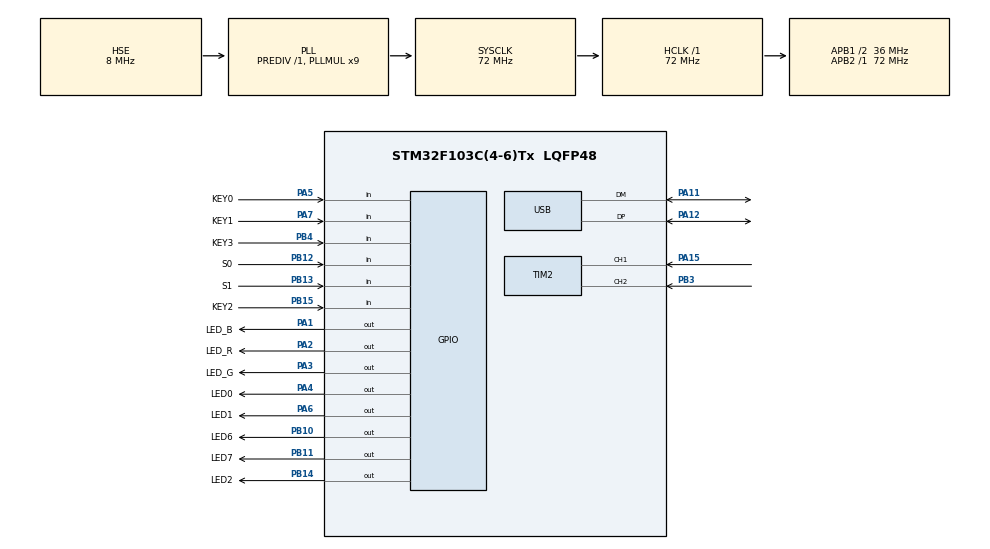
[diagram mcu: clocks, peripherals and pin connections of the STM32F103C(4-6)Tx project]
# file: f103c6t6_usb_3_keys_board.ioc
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Mcu.Family=STM32F1
Mcu.Name=STM32F103C(4-6)Tx
Mcu.Package=LQFP48
NVIC.PriorityGroup=NVIC_PRIORITYGROUP_4
NVIC.TIM1_UP_IRQn=true\:0\:0\:false\:false\:true\:true\:true
NVIC.TIM3_IRQn=true\:0\:0\:false\:false\:true\:true\:true
NVIC.USB_LP_CAN1_RX0_IRQn=true\:0\:0\:false\:false\:true\:false\:true
PA1.GPIO_Label=LED_B
PA1.Signal=GPIO_Output
PA11.Mode=Device
PA11.Signal=USB_DM
PA12.Mode=Device
PA12.Signal=USB_DP
PA13.Mode=Serial_Wire
PA13.Signal=SYS_JTMS-SWDIO
PA14.Mode=Serial_Wire
PA14.Signal=SYS_JTCK-SWCLK
PA15.GPIO_PuPd=GPIO_PULLUP
PA15.Signal=S_TIM2_CH1_ETR
PA2.GPIO_Label=LED_R
PA2.Signal=GPIO_Output
PA3.GPIO_Label=LED_G
PA3.Signal=GPIO_Output
PA4.GPIO_Label=LED0
PA4.Signal=GPIO_Output
PA5.GPIO_Label=KEY0
PA5.GPIO_PuPd=GPIO_PULLUP
PA5.Signal=GPIO_Input
PA6.GPIO_Label=LED1
PA6.Signal=GPIO_Output
PA7.GPIO_Label=KEY1
PA7.GPIO_PuPd=GPIO_PULLUP
PA7.Signal=GPIO_Input
PB10.GPIO_Label=LED6
PB10.Signal=GPIO_Output
PB11.GPIO_Label=LED7
PB11.Signal=GPIO_Output
PB12.GPIO_Label=S0
PB12.GPIO_PuPd=GPIO_PULLUP
PB12.Signal=GPIO_Input
PB13.GPIO_Label=S1
PB13.GPIO_PuPd=GPIO_PULLUP
PB13.Signal=GPIO_Input
PB14.GPIO_Label=LED2
PB14.Signal=GPIO_Output
PB15.GPIO_Label=KEY2
PB15.GPIO_PuPd=GPIO_PULLUP
PB15.Signal=GPIO_Input
PB3.GPIO_PuPd=GPIO_PULLUP
PB3.Signal=S_TIM2_CH2
PB4.GPIO_Label=KEY3
PB4.GPIO_PuPd=GPIO_PULLUP
PB4.Signal=GPIO_Input
PD0-OSC_IN.Mode=HSE-External-Oscillator
PD0-OSC_IN.Signal=RCC_OSC_IN
PD1-OSC_OUT.Mode=HSE-External-Oscillator
PD1-OSC_OUT.Signal=RCC_OSC_OUT
ProjectManager.HeapSize=0x200
ProjectManager.StackSize=0x400
ProjectManager.TargetToolchain=MDK-ARM V5.32
RCC.AHBFreq_Value=72000000
RCC.APB1CLKDivider=RCC_HCLK_DIV2
RCC.APB1Freq_Value=36000000
RCC.APB1TimFreq_Value=72000000
RCC.APB2Freq_Value=72000000
RCC.APB2TimFreq_Value=72000000
RCC.HCLKFreq_Value=72000000
RCC.PLLMUL=RCC_PLL_MUL9
RCC.SYSCLKFreq_VALUE=72000000
RCC.SYSCLKSource=RCC_SYSCLKSOURCE_PLLCLK
RCC.USBFreq_Value=48000000
RCC.USBPrescaler=RCC_USBCLKSOURCE_PLL_DIV1_5
SH.S_TIM2_CH1_ETR.0=TIM2_CH1,Encoder_Interface
SH.S_TIM2_CH2.0=TIM2_CH2,Encoder_Interface
TIM1.Period=24
TIM1.Prescaler=7199
TIM3.Period=49
TIM3.Prescaler=71
USB_DEVICE.CLASS_NAME_FS=CUSTOM_HID
USB_DEVICE.LANGID_STRING=1033
USB_DEVICE.MANUFACTURER_STRING=NJUST 6003-Ptisak LAB INC
USB_DEVICE.VID=6666
USB_DEVICE.VirtualMode=CustomHid
USB_DEVICE.VirtualModeFS=Custom_Hid_FS
VP_TIM1_VS_ClockSourceINT.Mode=Internal
VP_TIM3_VS_ClockSourceINT.Mode=Internal
VP_USB_DEVICE_VS_USB_DEVICE_CUSTOM_HID_FS.Mode=CUSTOM_HID_FS
board=custom

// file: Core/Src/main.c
/* USER CODE BEGIN Header */
/**
 ******************************************************************************
 * @file           : main.c
 * @brief          : Main program body
 ******************************************************************************
 * @attention
 *
 * Copyright (c) 2022 STMicroelectronics.
 * All rights reserved.
 *
 * This software is licensed under terms that can be found in the LICENSE file
 * in the root directory of this software component.
 * If no LICENSE file comes with this software, it is provided AS-IS.
 *
 ******************************************************************************
 */
/* USER CODE END Header */
#include "main.h"
#include "tim.h"
#include "usb_device.h"
#include "gpio.h"

/* USER CODE BEGIN Includes */
#include "mouse.h"
#include "keyboard.h"
#include "touch_screen.h"
#include "custom_control.h"

#include "psk_hid.h"

#include "psk_multi_button.h"
#include "psk_ps.h"
#include "psk_led.h"
#include "psk_switch.h"
/* USER CODE END Includes */

void SystemClock_Config(void);

/* USER CODE BEGIN 0 */
void shutdown(void)
{
  keyboard_press_sp_key(LEFT_GUI, 2);
  keyboard_press_char('x', 2);
  keyboard_delay(100);
  keyboard_press_sp_key(LEFT_GUI, 2);
  keyboard_press_char('x', 2);
  keyboard_delay(50);
  keyboard_press_str("uuuuuuuuuuuuuuuuuuu\n", 0);
}
void USB_Reset(void)
{
  GPIO_InitTypeDef GPIO_InitStruct;
  /* GPIO Ports Clock Enable */
  __HAL_RCC_GPIOA_CLK_ENABLE();
  /*Configure GPIO pin Output Level */
  HAL_GPIO_WritePin(GPIOA, GPIO_PIN_12, GPIO_PIN_RESET);
  /*Configure GPIO pin : PA12 */
  GPIO_InitStruct.Pin = GPIO_PIN_12;
  GPIO_InitStruct.Mode = GPIO_MODE_OUTPUT_PP;
  GPIO_InitStruct.Pull = GPIO_PULLDOWN;
  GPIO_InitStruct.Speed = GPIO_SPEED_FREQ_LOW;
  HAL_GPIO_Init(GPIOA, &GPIO_InitStruct);

  HAL_GPIO_WritePin(GPIOA, GPIO_PIN_12, GPIO_PIN_RESET);
  HAL_Delay(65);
  HAL_GPIO_WritePin(GPIOA, GPIO_PIN_12, GPIO_PIN_SET);
}
void HAL_TIM_PeriodElapsedCallback(TIM_HandleTypeDef *htim)
{
  if (htim == (&htim1)) // 2.5ms一次
  {
    static uint8_t i;

    if (i)
    {
      send_keyboard_data();
      send_custom_control_data();
    }
    else
    {
      send_touch_data();
      send_mouse_data();

      led_smooth_change_handle();
    }
    i = !i;
  }
  else if (htim == (&htim3))
  {
    led_soft_pwm_handle();
  }
}
#define ENC_START_VAL 1024

void encode_get(void)
{
  static int8_t en_get;
  en_get = -(__HAL_TIM_GET_COUNTER(&htim2) - ENC_START_VAL);
  if (en_get)
  {
    if (en_get % 2 == 0)
    {
      __HAL_TIM_SetCounter(&htim2, ENC_START_VAL);
    }
    if (en_get > 0)
    {
      custom_press_key(VOL_UP, 1);
    }
    else if (en_get < 0)
    {
      custom_press_key(VOL_DOWN, 1);
    }
  }
}

/* USER CODE END 0 */

int main(void)
{
  /* USER CODE BEGIN 1 */
  int i;
  uint32_t tickstart = HAL_GetTick();
  uint32_t wait = 1;

  /* USER CODE END 1 */

  /* MCU Configuration--------------------------------------------------------*/

  /* Reset of all peripherals, Initializes the Flash interface and the Systick. */
  HAL_Init();

  /* Configure the system clock */
  SystemClock_Config();

  /* USER CODE BEGIN SysInit */
  USB_Reset();
  /* USER CODE END SysInit */

  /* Initialize all configured peripherals */
  MX_GPIO_Init();
  MX_TIM1_Init();
  MX_TIM2_Init();
  MX_USB_DEVICE_Init();
  MX_TIM3_Init();
  /* USER CODE BEGIN 2 */

  mouse_init();
  keyboard_init();
  touch_init();
  custom_init();
  HAL_TIM_Base_Start_IT(&htim1);

  led_set_mode(0, SMOOTH_DIM);
  led_set_mode(2, SMOOTH_DIM);
  led_set_mode(1, SMOOTH_DIM);
  led_set_mode(3, SMOOTH_DIM);

  led_set_mode(5, SMOOTH_ALL);
  led_set_mode(6, SMOOTH_ALL);
  led_set_mode(7, SMOOTH_ALL);

  HAL_TIM_Encoder_Start(&htim2, TIM_CHANNEL_ALL);
  __HAL_TIM_SetCounter(&htim2, ENC_START_VAL);

  my_button_init();
  HAL_Delay(100);

  HAL_TIM_Base_Start_IT(&htim3);

  scan_switch();

  /* USER CODE END 2 */

  /* Infinite loop */
  /* USER CODE BEGIN WHILE */
  static uint16_t tick[5];
  static uint16_t tick_max[5] = {5, 5, 100, 500, 1000};
  // static int8_t led
  while (1)
  {
    // HAL_Delay(1);
    tickstart = HAL_GetTick();

    for (i = 0; i < 5; i++)
    {
      if (tick[i] == 0)
      {
        tick[i] = tick_max[i];
        switch (i)
        {
        case 0:
          key_scan();
          button_ticks();
          if (key_scan_code == 0 && (switch_data == 3))
          {
            shutdown();
          }
          break;
        case 1:
          encode_get();
          break;
        case 2:
          scan_switch();
          break;
        case 3:
          if (switch_data == 0)
          {
            led_set_mode(3, SMOOTH_DIM);
            led_set_mode(4, SMOOTH_LIGHT);
            led_set_light(3, 100);
            led_set_light(4, 0);
          }
          else if (switch_data == 1)
          {
            led_set_mode(3, SMOOTH_DIM);
            led_set_mode(4, STEEP);
            led_set_light(3, 100);
            led_set_light(4, 0);
          }
          else if (switch_data == 2)
          {
            led_set_mode(3, STEEP);
            led_set_mode(4, SMOOTH_LIGHT);
            led_set_light(3, 0);
            led_set_light(4, 0);
          }
          break;
        case 4:
          // static uint8_t r, g, b;
          // r = (r + 3) % 200;
          // g = (g + 4) % 200;
          // b = (b + 2) % 200;
          led_set_rgb(rand() & 100, rand() % 100, rand() % 100);
          ps("Hello PC Ptisak %d", tickstart);
          // keyboard_press_key_code(Keypad_Num_Lock_and_Clear11_90____101_104, 30);
          // led_set_rgb(r, g, b);
          break;
        }
      }
      tick[i]--;
    }

    while ((HAL_GetTick() - tickstart) < wait)
    {
    }

    /* USER CODE END WHILE */

  }
}

void SystemClock_Config(void)
{
  RCC_OscInitTypeDef RCC_OscInitStruct = {0};
  RCC_ClkInitTypeDef RCC_ClkInitStruct = {0};
  RCC_PeriphCLKInitTypeDef PeriphClkInit = {0};

  /** Initializes the RCC Oscillators according to the specified parameters
   * in the RCC_OscInitTypeDef structure.
   */
  RCC_OscInitStruct.OscillatorType = RCC_OSCILLATORTYPE_HSE;
  RCC_OscInitStruct.HSEState = RCC_HSE_ON;
  RCC_OscInitStruct.HSEPredivValue = RCC_HSE_PREDIV_DIV1;
  RCC_OscInitStruct.HSIState = RCC_HSI_ON;
  RCC_OscInitStruct.PLL.PLLState = RCC_PLL_ON;
  RCC_OscInitStruct.PLL.PLLSource = RCC_PLLSOURCE_HSE;
  RCC_OscInitStruct.PLL.PLLMUL = RCC_PLL_MUL9;
  if (HAL_RCC_OscConfig(&RCC_OscInitStruct) != HAL_OK)
  {
    Error_Handler();
  }
  /** Initializes the CPU, AHB and APB buses clocks
   */
  RCC_ClkInitStruct.ClockType = RCC_CLOCKTYPE_HCLK | RCC_CLOCKTYPE_SYSCLK | RCC_CLOCKTYPE_PCLK1 | RCC_CLOCKTYPE_PCLK2;
  RCC_ClkInitStruct.SYSCLKSource = RCC_SYSCLKSOURCE_PLLCLK;
  RCC_ClkInitStruct.AHBCLKDivider = RCC_SYSCLK_DIV1;
  RCC_ClkInitStruct.APB1CLKDivider = RCC_HCLK_DIV2;
  RCC_ClkInitStruct.APB2CLKDivider = RCC_HCLK_DIV1;

  if (HAL_RCC_ClockConfig(&RCC_ClkInitStruct, FLASH_LATENCY_2) != HAL_OK)
  {
    Error_Handler();
  }
  PeriphClkInit.PeriphClockSelection = RCC_PERIPHCLK_USB;
  PeriphClkInit.UsbClockSelection = RCC_USBCLKSOURCE_PLL_DIV1_5;
  if (HAL_RCCEx_PeriphCLKConfig(&PeriphClkInit) != HAL_OK)
  {
    Error_Handler();
  }
}

void Error_Handler(void)
{
  __disable_irq();
  while (1)
  {
  }
}
